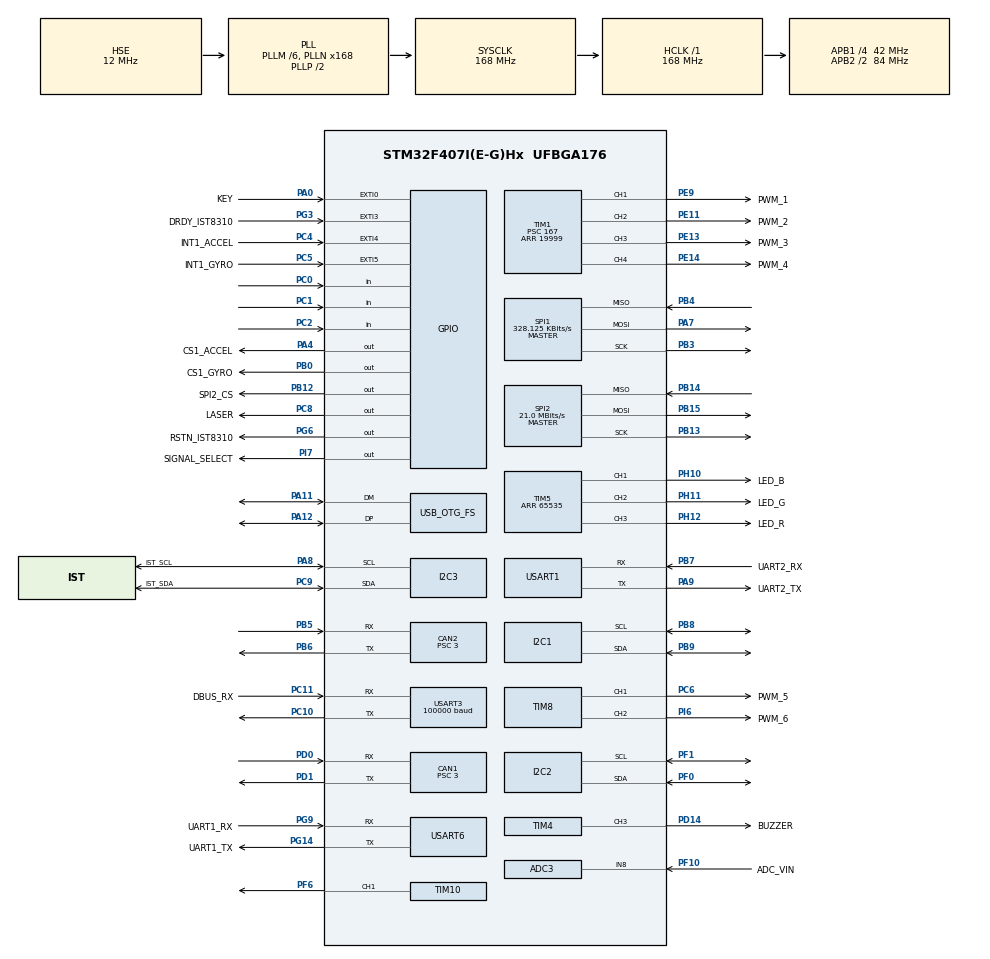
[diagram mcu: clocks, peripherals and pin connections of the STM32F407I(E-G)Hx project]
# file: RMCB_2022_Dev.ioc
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ADC1.Channel-0\#ChannelRegularConversion=ADC_CHANNEL_VREFINT
ADC1.ClockPrescaler=ADC_CLOCK_SYNC_PCLK_DIV4
ADC1.NbrOfConversionFlag=1
ADC1.Rank-0\#ChannelRegularConversion=1
ADC1.SamplingTime-0\#ChannelRegularConversion=ADC_SAMPLETIME_3CYCLES
ADC1.master=1
ADC3.Channel-0\#ChannelRegularConversion=ADC_CHANNEL_8
ADC3.ClockPrescaler=ADC_CLOCK_SYNC_PCLK_DIV4
ADC3.NbrOfConversionFlag=1
ADC3.Rank-0\#ChannelRegularConversion=1
ADC3.SamplingTime-0\#ChannelRegularConversion=ADC_SAMPLETIME_3CYCLES
CAN1.BS1=CAN_BS1_10TQ
CAN1.BS2=CAN_BS2_3TQ
CAN1.CalculateBaudRate=1000000
CAN1.CalculateTimeBit=1000
CAN1.CalculateTimeQuantum=71.42857142857143
CAN1.Prescaler=3
CAN2.BS1=CAN_BS1_10TQ
CAN2.BS2=CAN_BS2_3TQ
CAN2.CalculateBaudRate=1000000
CAN2.CalculateTimeBit=1000
CAN2.CalculateTimeQuantum=71.42857142857143
CAN2.Prescaler=3
Dma.Request0=SPI1_RX
Dma.Request1=SPI1_TX
Dma.Request2=USART3_RX
Dma.Request3=USART1_RX
Dma.Request4=USART1_TX
Dma.Request5=USART6_RX
Dma.Request6=USART6_TX
Dma.SPI1_RX.0.Direction=DMA_PERIPH_TO_MEMORY
Dma.SPI1_RX.0.FIFOMode=DMA_FIFOMODE_DISABLE
Dma.SPI1_RX.0.Instance=DMA2_Stream2
Dma.SPI1_RX.0.MemDataAlignment=DMA_MDATAALIGN_BYTE
Dma.SPI1_RX.0.MemInc=DMA_MINC_ENABLE
Dma.SPI1_RX.0.Mode=DMA_NORMAL
Dma.SPI1_RX.0.PeriphDataAlignment=DMA_PDATAALIGN_BYTE
Dma.SPI1_RX.0.PeriphInc=DMA_PINC_DISABLE
Dma.SPI1_RX.0.Priority=DMA_PRIORITY_VERY_HIGH
Dma.SPI1_TX.1.Direction=DMA_MEMORY_TO_PERIPH
Dma.SPI1_TX.1.FIFOMode=DMA_FIFOMODE_DISABLE
Dma.SPI1_TX.1.Instance=DMA2_Stream3
Dma.SPI1_TX.1.MemDataAlignment=DMA_MDATAALIGN_BYTE
Dma.SPI1_TX.1.MemInc=DMA_MINC_ENABLE
Dma.SPI1_TX.1.Mode=DMA_NORMAL
Dma.SPI1_TX.1.PeriphDataAlignment=DMA_PDATAALIGN_BYTE
Dma.SPI1_TX.1.PeriphInc=DMA_PINC_DISABLE
Dma.SPI1_TX.1.Priority=DMA_PRIORITY_HIGH
Dma.USART1_RX.3.Direction=DMA_PERIPH_TO_MEMORY
Dma.USART1_RX.3.FIFOMode=DMA_FIFOMODE_DISABLE
Dma.USART1_RX.3.Instance=DMA2_Stream5
Dma.USART1_RX.3.MemDataAlignment=DMA_MDATAALIGN_BYTE
Dma.USART1_RX.3.MemInc=DMA_MINC_ENABLE
Dma.USART1_RX.3.Mode=DMA_NORMAL
Dma.USART1_RX.3.PeriphDataAlignment=DMA_PDATAALIGN_BYTE
Dma.USART1_RX.3.PeriphInc=DMA_PINC_DISABLE
Dma.USART1_RX.3.Priority=DMA_PRIORITY_VERY_HIGH
Dma.USART1_TX.4.Direction=DMA_MEMORY_TO_PERIPH
Dma.USART1_TX.4.FIFOMode=DMA_FIFOMODE_DISABLE
Dma.USART1_TX.4.Instance=DMA2_Stream7
Dma.USART1_TX.4.MemDataAlignment=DMA_MDATAALIGN_BYTE
Dma.USART1_TX.4.MemInc=DMA_MINC_ENABLE
Dma.USART1_TX.4.Mode=DMA_NORMAL
Dma.USART1_TX.4.PeriphDataAlignment=DMA_PDATAALIGN_BYTE
Dma.USART1_TX.4.PeriphInc=DMA_PINC_DISABLE
Dma.USART1_TX.4.Priority=DMA_PRIORITY_HIGH
Dma.USART3_RX.2.Direction=DMA_PERIPH_TO_MEMORY
Dma.USART3_RX.2.FIFOMode=DMA_FIFOMODE_DISABLE
Dma.USART3_RX.2.Instance=DMA1_Stream1
Dma.USART3_RX.2.MemDataAlignment=DMA_MDATAALIGN_BYTE
Dma.USART3_RX.2.MemInc=DMA_MINC_ENABLE
Dma.USART3_RX.2.Mode=DMA_NORMAL
Dma.USART3_RX.2.PeriphDataAlignment=DMA_PDATAALIGN_BYTE
Dma.USART3_RX.2.PeriphInc=DMA_PINC_DISABLE
Dma.USART3_RX.2.Priority=DMA_PRIORITY_HIGH
Dma.USART6_RX.5.Direction=DMA_PERIPH_TO_MEMORY
Dma.USART6_RX.5.FIFOMode=DMA_FIFOMODE_DISABLE
Dma.USART6_RX.5.Instance=DMA2_Stream1
Dma.USART6_RX.5.MemDataAlignment=DMA_MDATAALIGN_BYTE
Dma.USART6_RX.5.MemInc=DMA_MINC_ENABLE
Dma.USART6_RX.5.Mode=DMA_NORMAL
Dma.USART6_RX.5.PeriphDataAlignment=DMA_PDATAALIGN_BYTE
Dma.USART6_RX.5.PeriphInc=DMA_PINC_DISABLE
Dma.USART6_RX.5.Priority=DMA_PRIORITY_VERY_HIGH
Dma.USART6_TX.6.Direction=DMA_MEMORY_TO_PERIPH
Dma.USART6_TX.6.FIFOMode=DMA_FIFOMODE_DISABLE
Dma.USART6_TX.6.Instance=DMA2_Stream6
Dma.USART6_TX.6.MemDataAlignment=DMA_MDATAALIGN_BYTE
Dma.USART6_TX.6.MemInc=DMA_MINC_ENABLE
Dma.USART6_TX.6.Mode=DMA_NORMAL
Dma.USART6_TX.6.PeriphDataAlignment=DMA_PDATAALIGN_BYTE
Dma.USART6_TX.6.PeriphInc=DMA_PINC_DISABLE
Dma.USART6_TX.6.Priority=DMA_PRIORITY_HIGH
FREERTOS.Tasks01=defaultTask,24,128,StartDefaultTask,Default,NULL,Dynamic,NULL,NULL
FREERTOS.configENABLE_FPU=1
I2C3.I2C_Mode=I2C_Fast
Mcu.Family=STM32F4
Mcu.Name=STM32F407I(E-G)Hx
Mcu.Package=UFBGA176
NVIC.CAN1_RX0_IRQn=true\:5\:0\:false\:false\:true\:true\:true\:true\:true
NVIC.CAN2_RX0_IRQn=true\:5\:0\:false\:false\:true\:true\:true\:true\:true
NVIC.DMA1_Stream1_IRQn=true\:5\:0\:false\:false\:true\:true\:false\:true\:true
NVIC.DMA2_Stream1_IRQn=true\:5\:0\:false\:false\:true\:true\:false\:true\:true
NVIC.DMA2_Stream2_IRQn=true\:5\:0\:false\:false\:true\:false\:false\:true\:true
NVIC.DMA2_Stream3_IRQn=true\:5\:0\:false\:false\:true\:true\:false\:true\:true
NVIC.DMA2_Stream5_IRQn=true\:5\:0\:false\:false\:true\:true\:false\:true\:true
NVIC.DMA2_Stream6_IRQn=true\:5\:0\:false\:false\:true\:true\:false\:true\:true
NVIC.DMA2_Stream7_IRQn=true\:5\:0\:false\:false\:true\:true\:false\:true\:true
NVIC.EXTI0_IRQn=true\:5\:0\:false\:false\:true\:true\:true\:true\:true
NVIC.EXTI3_IRQn=true\:5\:0\:false\:false\:true\:true\:true\:true\:true
NVIC.EXTI4_IRQn=true\:5\:0\:true\:false\:true\:true\:true\:true\:true
NVIC.EXTI9_5_IRQn=true\:5\:0\:true\:false\:true\:true\:true\:true\:true
NVIC.OTG_FS_IRQn=true\:5\:0\:false\:false\:true\:true\:true\:true\:true
NVIC.PriorityGroup=NVIC_PRIORITYGROUP_4
NVIC.TIM8_TRG_COM_TIM14_IRQn=true\:0\:0\:false\:false\:true\:false\:false\:true\:true
NVIC.TimeBase=TIM8_TRG_COM_TIM14_IRQn
NVIC.TimeBaseIP=TIM14
NVIC.USART1_IRQn=true\:5\:0\:false\:false\:true\:true\:true\:true\:true
NVIC.USART3_IRQn=true\:5\:0\:false\:false\:true\:true\:true\:true\:true
NVIC.USART6_IRQn=true\:5\:0\:false\:false\:true\:true\:true\:true\:true
PA0-WKUP.GPIO_Label=KEY
PA0-WKUP.GPIO_ModeDefaultEXTI=GPIO_MODE_IT_FALLING
PA0-WKUP.Signal=GPXTI0
PA11.Mode=Device_Only
PA11.Signal=USB_OTG_FS_DM
PA12.Mode=Device_Only
PA12.Signal=USB_OTG_FS_DP
PA13.Mode=Serial_Wire
PA13.Signal=SYS_JTMS-SWDIO
PA14.Mode=Serial_Wire
PA14.Signal=SYS_JTCK-SWCLK
PA4.GPIO_Label=CS1_ACCEL
PA4.Signal=GPIO_Output
PA7.GPIO_PuPd=GPIO_PULLUP
PA7.Mode=Full_Duplex_Master
PA7.Signal=SPI1_MOSI
PA8.GPIO_Label=IST_SCL
PA8.GPIO_Pu=GPIO_PULLUP
PA8.Mode=I2C
PA8.Signal=I2C3_SCL
PA9.GPIO_Label=UART2_TX
PA9.Mode=Asynchronous
PA9.Signal=USART1_TX
PB0.GPIO_Label=CS1_GYRO
PB0.Signal=GPIO_Output
PB12.GPIO_Label=SPI2_CS
PB12.GPIO_Speed=GPIO_SPEED_FREQ_VERY_HIGH
PB12.Signal=GPIO_Output
PB13.GPIO_PuPd=GPIO_PULLUP
PB13.Mode=Full_Duplex_Master
PB13.Signal=SPI2_SCK
PB14.GPIO_PuPd=GPIO_PULLUP
PB14.Mode=Full_Duplex_Master
PB14.Signal=SPI2_MISO
PB15.GPIO_PuPd=GPIO_PULLUP
PB15.Mode=Full_Duplex_Master
PB15.Signal=SPI2_MOSI
PB3.GPIO_PuPd=GPIO_PULLUP
PB3.Mode=Full_Duplex_Master
PB3.Signal=SPI1_SCK
PB4.GPIO_PuPd=GPIO_PULLUP
PB4.Mode=Full_Duplex_Master
PB4.Signal=SPI1_MISO
PB5.Mode=CAN_Activate
PB5.Signal=CAN2_RX
PB6.Mode=CAN_Activate
PB6.Signal=CAN2_TX
PB7.GPIO_Label=UART2_RX
PB7.Mode=Asynchronous
PB7.Signal=USART1_RX
PB8.GPIO_Pu=GPIO_PULLUP
PB8.Mode=I2C
PB8.Signal=I2C1_SCL
PB9.GPIO_Pu=GPIO_PULLUP
PB9.Mode=I2C
PB9.Signal=I2C1_SDA
PC0.Signal=GPIO_Input
PC1.Signal=GPIO_Input
PC10.Mode=Asynchronous
PC10.Signal=USART3_TX
PC11.GPIO_Label=DBUS_RX
PC11.Mode=Asynchronous
PC11.Signal=USART3_RX
PC2.Signal=GPIO_Input
PC4.GPIO_Label=INT1_ACCEL
PC4.Signal=GPXTI4
PC5.GPIO_Label=INT1_GYRO
PC5.Signal=GPXTI5
PC6.GPIO_Label=PWM_5
PC6.Signal=S_TIM8_CH1
PC8.GPIO_Label=LASER
PC8.Signal=GPIO_Output
PC9.GPIO_Label=IST_SDA
PC9.GPIO_Pu=GPIO_PULLUP
PC9.Mode=I2C
PC9.Signal=I2C3_SDA
PD0.Mode=CAN_Activate
PD0.Signal=CAN1_RX
PD1.Mode=CAN_Activate
PD1.Signal=CAN1_TX
PD14.GPIO_Label=BUZZER
PD14.Signal=S_TIM4_CH3
PE11.GPIO_Label=PWM_2
PE11.Signal=S_TIM1_CH2
PE13.GPIO_Label=PWM_3
PE13.Signal=S_TIM1_CH3
PE14.GPIO_Label=PWM_4
PE14.Signal=S_TIM1_CH4
PE9.GPIO_Label=PWM_1
PE9.Signal=S_TIM1_CH1
PF0.GPIO_Pu=GPIO_PULLUP
PF0.Mode=I2C
PF0.Signal=I2C2_SDA
PF1.GPIO_Pu=GPIO_PULLUP
PF1.Mode=I2C
PF1.Signal=I2C2_SCL
PF10.GPIO_Label=ADC_VIN
PF10.Mode=IN8
PF10.Signal=ADC3_IN8
PF6.Signal=S_TIM10_CH1
PG14.GPIO_Label=UART1_TX
PG14.Mode=Asynchronous
PG14.Signal=USART6_TX
PG3.GPIO_Label=DRDY_IST8310
PG3.Signal=GPXTI3
PG6.GPIO_Label=RSTN_IST8310
PG6.GPIO_Speed=GPIO_SPEED_FREQ_VERY_HIGH
PG6.Signal=GPIO_Output
PG9.GPIO_Label=UART1_RX
PG9.Mode=Asynchronous
PG9.Signal=USART6_RX
PH0-OSC_IN.Mode=HSE-External-Oscillator
PH0-OSC_IN.Signal=RCC_OSC_IN
PH1-OSC_OUT.Mode=HSE-External-Oscillator
PH1-OSC_OUT.Signal=RCC_OSC_OUT
PH10.GPIO_Label=LED_B
PH10.Signal=S_TIM5_CH1
PH11.GPIO_Label=LED_G
PH11.Signal=S_TIM5_CH2
PH12.GPIO_Label=LED_R
PH12.Signal=S_TIM5_CH3
PI6.GPIO_Label=PWM_6
PI6.Signal=S_TIM8_CH2
PI7.GPIO_Label=SIGNAL_SELECT
PI7.Signal=GPIO_Output
ProjectManager.HeapSize=0x1000
ProjectManager.StackSize=0x400
ProjectManager.TargetToolchain=MDK-ARM V5.27
RCC.48MHZClocksFreq_Value=48000000
RCC.AHBFreq_Value=168000000
RCC.APB1CLKDivider=RCC_HCLK_DIV4
RCC.APB1Freq_Value=42000000
RCC.APB1TimFreq_Value=84000000
RCC.APB2CLKDivider=RCC_HCLK_DIV2
RCC.APB2Freq_Value=84000000
RCC.APB2TimFreq_Value=168000000
RCC.CortexFreq_Value=168000000
RCC.HCLKFreq_Value=168000000
RCC.HSE_VALUE=12000000
RCC.HSI_VALUE=16000000
RCC.LSE_VALUE=32768
RCC.PLLM=6
RCC.PLLN=168
RCC.PLLQ=7
RCC.SYSCLKFreq_VALUE=168000000
RCC.SYSCLKSource=RCC_SYSCLKSOURCE_PLLCLK
RCC.VCOOutputFreq_Value=336000000
SH.S_TIM10_CH1.0=TIM10_CH1,PWM Generation1 CH1
SH.S_TIM1_CH1.0=TIM1_CH1,PWM Generation1 CH1
SH.S_TIM1_CH2.0=TIM1_CH2,PWM Generation2 CH2
SH.S_TIM1_CH3.0=TIM1_CH3,PWM Generation3 CH3
SH.S_TIM1_CH4.0=TIM1_CH4,PWM Generation4 CH4
SH.S_TIM4_CH3.0=TIM4_CH3,PWM Generation3 CH3
SH.S_TIM5_CH1.0=TIM5_CH1,PWM Generation1 CH1
SH.S_TIM5_CH2.0=TIM5_CH2,PWM Generation2 CH2
SH.S_TIM5_CH3.0=TIM5_CH3,PWM Generation3 CH3
SH.S_TIM8_CH1.0=TIM8_CH1,PWM Generation1 CH1
SH.S_TIM8_CH2.0=TIM8_CH2,PWM Generation2 CH2
SPI1.BaudRatePrescaler=SPI_BAUDRATEPRESCALER_256
SPI1.CLKPhase=SPI_PHASE_2EDGE
SPI1.CLKPolarity=SPI_POLARITY_HIGH
SPI1.CalculateBaudRate=328.125 KBits/s
SPI1.Direction=SPI_DIRECTION_2LINES
SPI1.Mode=SPI_MODE_MASTER
SPI1.VirtualType=VM_MASTER
SPI2.BaudRatePrescaler=SPI_BAUDRATEPRESCALER_2
SPI2.CalculateBaudRate=21.0 MBits/s
SPI2.Direction=SPI_DIRECTION_2LINES
SPI2.Mode=SPI_MODE_MASTER
SPI2.VirtualType=VM_MASTER
TIM1.Channel-PWM\ Generation1\ CH1=TIM_CHANNEL_1
TIM1.Channel-PWM\ Generation2\ CH2=TIM_CHANNEL_2
TIM1.Channel-PWM\ Generation3\ CH3=TIM_CHANNEL_3
TIM1.Channel-PWM\ Generation4\ CH4=TIM_CHANNEL_4
TIM1.Period=19999
TIM1.Prescaler=167
TIM10.Channel=TIM_CHANNEL_1
TIM4.Channel-PWM\ Generation3\ CH3=TIM_CHANNEL_3
TIM5.Channel-PWM\ Generation1\ CH1=TIM_CHANNEL_1
TIM5.Channel-PWM\ Generation2\ CH2=TIM_CHANNEL_2
TIM5.Channel-PWM\ Generation3\ CH3=TIM_CHANNEL_3
TIM5.Period=65535
TIM5.Pulse-PWM\ Generation2\ CH2=0
TIM5.Pulse-PWM\ Generation3\ CH3=60000
TIM8.Channel-PWM\ Generation1\ CH1=TIM_CHANNEL_1
TIM8.Channel-PWM\ Generation2\ CH2=TIM_CHANNEL_2
USART1.Parity=PARITY_EVEN
USART1.VirtualMode=VM_ASYNC
USART1.WordLength=WORDLENGTH_9B
USART3.BaudRate=100000
USART3.Parity=PARITY_EVEN
USART3.VirtualMode=VM_ASYNC
USART3.WordLength=WORDLENGTH_9B
USART6.Parity=PARITY_NONE
USART6.VirtualMode=VM_ASYNC
USART6.WordLength=WORDLENGTH_8B
USB_DEVICE.CLASS_NAME_FS=CDC
USB_DEVICE.VirtualMode-CDC_FS=Cdc
USB_DEVICE.VirtualModeFS=Cdc_FS
USB_OTG_FS.VirtualMode=Device_Only
VP_ADC1_TempSens_Input.Mode=IN-TempSens
VP_ADC1_Vref_Input.Mode=IN-Vrefint
VP_FREERTOS_VS_CMSIS_V2.Mode=CMSIS_V2
VP_SYS_VS_tim14.Mode=TIM14
VP_TIM10_VS_ClockSourceINT.Mode=Enable_Timer
VP_USB_DEVICE_VS_USB_DEVICE_CDC_FS.Mode=CDC_FS
board=custom

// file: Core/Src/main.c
/* USER CODE BEGIN Header */
/**
  ******************************************************************************
  * @file           : main.c
  * @brief          : Main program body
  ******************************************************************************
  * @attention
  *
  * <h2><center>&copy; Copyright (c) 2021 STMicroelectronics.
  * All rights reserved.</center></h2>
  *
  * This software component is licensed by ST under Ultimate Liberty license
  * SLA0044, the "License"; You may not use this file except in compliance with
  * the License. You may obtain a copy of the License at:
  *                             www.st.com/SLA0044
  *
  ******************************************************************************
  */
/* USER CODE END Header */
#include "main.h"
#include "cmsis_os.h"
#include "usb_device.h"
#include "usb_device.h"

/* USER CODE BEGIN Includes */
#include "components.h"
#include "stm32f4xx_hal_tim.h"
#include "user_main.h"
/* USER CODE END Includes */

/* USER CODE BEGIN PD */
extern uint8_t LED_Override;
extern TIM_HandleTypeDef htim5;
#define LED_HAL_TIM htim5
#define LED_LL_TIM TIM5
/* USER CODE END PD */

ADC_HandleTypeDef hadc1;
ADC_HandleTypeDef hadc3;

CAN_HandleTypeDef hcan1;
CAN_HandleTypeDef hcan2;

I2C_HandleTypeDef hi2c1;
I2C_HandleTypeDef hi2c2;
I2C_HandleTypeDef hi2c3;

SPI_HandleTypeDef hspi1;
SPI_HandleTypeDef hspi2;
DMA_HandleTypeDef hdma_spi1_rx;
DMA_HandleTypeDef hdma_spi1_tx;

TIM_HandleTypeDef htim1;
TIM_HandleTypeDef htim4;
TIM_HandleTypeDef htim5;
TIM_HandleTypeDef htim8;
TIM_HandleTypeDef htim10;

UART_HandleTypeDef huart1;
UART_HandleTypeDef huart3;
UART_HandleTypeDef huart6;
DMA_HandleTypeDef hdma_usart1_rx;
DMA_HandleTypeDef hdma_usart1_tx;
DMA_HandleTypeDef hdma_usart3_rx;
DMA_HandleTypeDef hdma_usart6_rx;
DMA_HandleTypeDef hdma_usart6_tx;

/* Definitions for defaultTask */
osThreadId_t defaultTaskHandle;
const osThreadAttr_t defaultTask_attributes = {
  .name = "defaultTask",
  .stack_size = 128 * 4,
  .priority = (osPriority_t) osPriorityNormal,
};

void SystemClock_Config(void);
static void MX_GPIO_Init(void);
static void MX_DMA_Init(void);
static void MX_ADC1_Init(void);
static void MX_ADC3_Init(void);
static void MX_CAN1_Init(void);
static void MX_CAN2_Init(void);
static void MX_I2C3_Init(void);
static void MX_SPI1_Init(void);
static void MX_TIM5_Init(void);
static void MX_USART1_UART_Init(void);
static void MX_USART3_UART_Init(void);
static void MX_USART6_UART_Init(void);
static void MX_TIM10_Init(void);
static void MX_I2C1_Init(void);
static void MX_I2C2_Init(void);
static void MX_SPI2_Init(void);
static void MX_TIM1_Init(void);
static void MX_TIM4_Init(void);
static void MX_TIM8_Init(void);
void StartDefaultTask(void *argument);

int main(void)
{

  /* MCU Configuration--------------------------------------------------------*/

  /* Reset of all peripherals, Initializes the Flash interface and the Systick. */
	HAL_Init();

  /* Configure the system clock */
  SystemClock_Config();

  /* Initialize all configured peripherals */
  MX_GPIO_Init();
  MX_DMA_Init();
  MX_ADC1_Init();
  MX_ADC3_Init();
  MX_CAN1_Init();
  MX_CAN2_Init();
  MX_I2C3_Init();
  MX_SPI1_Init();
  MX_TIM5_Init();
  MX_USART1_UART_Init();
  MX_USART3_UART_Init();
  MX_USART6_UART_Init();
  MX_TIM10_Init();
  MX_I2C1_Init();
  MX_I2C2_Init();
  MX_SPI2_Init();
  MX_TIM1_Init();
  MX_TIM4_Init();
  MX_TIM8_Init();
  /* USER CODE BEGIN 2 */
	Components_Init();
  /* USER CODE END 2 */

  /* Init scheduler */
  osKernelInitialize();

  /* Create the thread(s) */
  /* creation of defaultTask */
  defaultTaskHandle = osThreadNew(StartDefaultTask, NULL, &defaultTask_attributes);

  /* USER CODE BEGIN RTOS_THREADS */
  /* add threads, ... */
	User_Init();
  /* USER CODE END RTOS_THREADS */

  /* Start scheduler */
  osKernelStart();

  /* We should never get here as control is now taken by the scheduler */
  /* Infinite loop */
  while (1)
  {

  }
}

void SystemClock_Config(void)
{
  RCC_OscInitTypeDef RCC_OscInitStruct = {0};
  RCC_ClkInitTypeDef RCC_ClkInitStruct = {0};

  /** Configure the main internal regulator output voltage
  */
  __HAL_RCC_PWR_CLK_ENABLE();
  __HAL_PWR_VOLTAGESCALING_CONFIG(PWR_REGULATOR_VOLTAGE_SCALE1);
  /** Initializes the RCC Oscillators according to the specified parameters
  * in the RCC_OscInitTypeDef structure.
  */
  RCC_OscInitStruct.OscillatorType = RCC_OSCILLATORTYPE_HSE;
  RCC_OscInitStruct.HSEState = RCC_HSE_ON;
  RCC_OscInitStruct.PLL.PLLState = RCC_PLL_ON;
  RCC_OscInitStruct.PLL.PLLSource = RCC_PLLSOURCE_HSE;
  RCC_OscInitStruct.PLL.PLLM = 6;
  RCC_OscInitStruct.PLL.PLLN = 168;
  RCC_OscInitStruct.PLL.PLLP = RCC_PLLP_DIV2;
  RCC_OscInitStruct.PLL.PLLQ = 7;
  if (HAL_RCC_OscConfig(&RCC_OscInitStruct) != HAL_OK)
  {
    Error_Handler();
  }
  /** Initializes the CPU, AHB and APB buses clocks
  */
  RCC_ClkInitStruct.ClockType = RCC_CLOCKTYPE_HCLK|RCC_CLOCKTYPE_SYSCLK
                              |RCC_CLOCKTYPE_PCLK1|RCC_CLOCKTYPE_PCLK2;
  RCC_ClkInitStruct.SYSCLKSource = RCC_SYSCLKSOURCE_PLLCLK;
  RCC_ClkInitStruct.AHBCLKDivider = RCC_SYSCLK_DIV1;
  RCC_ClkInitStruct.APB1CLKDivider = RCC_HCLK_DIV4;
  RCC_ClkInitStruct.APB2CLKDivider = RCC_HCLK_DIV2;

  if (HAL_RCC_ClockConfig(&RCC_ClkInitStruct, FLASH_LATENCY_5) != HAL_OK)
  {
    Error_Handler();
  }
}

static void MX_ADC1_Init(void)
{

  ADC_ChannelConfTypeDef sConfig = {0};

  /** Configure the global features of the ADC (Clock, Resolution, Data Alignment and number of conversion)
  */
  hadc1.Instance = ADC1;
  hadc1.Init.ClockPrescaler = ADC_CLOCK_SYNC_PCLK_DIV4;
  hadc1.Init.Resolution = ADC_RESOLUTION_12B;
  hadc1.Init.ScanConvMode = DISABLE;
  hadc1.Init.ContinuousConvMode = DISABLE;
  hadc1.Init.DiscontinuousConvMode = DISABLE;
  hadc1.Init.ExternalTrigConvEdge = ADC_EXTERNALTRIGCONVEDGE_NONE;
  hadc1.Init.ExternalTrigConv = ADC_SOFTWARE_START;
  hadc1.Init.DataAlign = ADC_DATAALIGN_RIGHT;
  hadc1.Init.NbrOfConversion = 1;
  hadc1.Init.DMAContinuousRequests = DISABLE;
  hadc1.Init.EOCSelection = ADC_EOC_SINGLE_CONV;
  if (HAL_ADC_Init(&hadc1) != HAL_OK)
  {
    Error_Handler();
  }
  /** Configure for the selected ADC regular channel its corresponding rank in the sequencer and its sample time.
  */
  sConfig.Channel = ADC_CHANNEL_VREFINT;
  sConfig.Rank = 1;
  sConfig.SamplingTime = ADC_SAMPLETIME_3CYCLES;
  if (HAL_ADC_ConfigChannel(&hadc1, &sConfig) != HAL_OK)
  {
    Error_Handler();
  }

}

static void MX_ADC3_Init(void)
{

  ADC_ChannelConfTypeDef sConfig = {0};

  /** Configure the global features of the ADC (Clock, Resolution, Data Alignment and number of conversion)
  */
  hadc3.Instance = ADC3;
  hadc3.Init.ClockPrescaler = ADC_CLOCK_SYNC_PCLK_DIV4;
  hadc3.Init.Resolution = ADC_RESOLUTION_12B;
  hadc3.Init.ScanConvMode = DISABLE;
  hadc3.Init.ContinuousConvMode = DISABLE;
  hadc3.Init.DiscontinuousConvMode = DISABLE;
  hadc3.Init.ExternalTrigConvEdge = ADC_EXTERNALTRIGCONVEDGE_NONE;
  hadc3.Init.ExternalTrigConv = ADC_SOFTWARE_START;
  hadc3.Init.DataAlign = ADC_DATAALIGN_RIGHT;
  hadc3.Init.NbrOfConversion = 1;
  hadc3.Init.DMAContinuousRequests = DISABLE;
  hadc3.Init.EOCSelection = ADC_EOC_SINGLE_CONV;
  if (HAL_ADC_Init(&hadc3) != HAL_OK)
  {
    Error_Handler();
  }
  /** Configure for the selected ADC regular channel its corresponding rank in the sequencer and its sample time.
  */
  sConfig.Channel = ADC_CHANNEL_8;
  sConfig.Rank = 1;
  sConfig.SamplingTime = ADC_SAMPLETIME_3CYCLES;
  if (HAL_ADC_ConfigChannel(&hadc3, &sConfig) != HAL_OK)
  {
    Error_Handler();
  }

}

static void MX_CAN1_Init(void)
{

  hcan1.Instance = CAN1;
  hcan1.Init.Prescaler = 3;
  hcan1.Init.Mode = CAN_MODE_NORMAL;
  hcan1.Init.SyncJumpWidth = CAN_SJW_1TQ;
  hcan1.Init.TimeSeg1 = CAN_BS1_10TQ;
  hcan1.Init.TimeSeg2 = CAN_BS2_3TQ;
  hcan1.Init.TimeTriggeredMode = DISABLE;
  hcan1.Init.AutoBusOff = DISABLE;
  hcan1.Init.AutoWakeUp = DISABLE;
  hcan1.Init.AutoRetransmission = DISABLE;
  hcan1.Init.ReceiveFifoLocked = DISABLE;
  hcan1.Init.TransmitFifoPriority = DISABLE;
  if (HAL_CAN_Init(&hcan1) != HAL_OK)
  {
    Error_Handler();
  }

}

static void MX_CAN2_Init(void)
{

  hcan2.Instance = CAN2;
  hcan2.Init.Prescaler = 3;
  hcan2.Init.Mode = CAN_MODE_NORMAL;
  hcan2.Init.SyncJumpWidth = CAN_SJW_1TQ;
  hcan2.Init.TimeSeg1 = CAN_BS1_10TQ;
  hcan2.Init.TimeSeg2 = CAN_BS2_3TQ;
  hcan2.Init.TimeTriggeredMode = DISABLE;
  hcan2.Init.AutoBusOff = DISABLE;
  hcan2.Init.AutoWakeUp = DISABLE;
  hcan2.Init.AutoRetransmission = DISABLE;
  hcan2.Init.ReceiveFifoLocked = DISABLE;
  hcan2.Init.TransmitFifoPriority = DISABLE;
  if (HAL_CAN_Init(&hcan2) != HAL_OK)
  {
    Error_Handler();
  }

}

static void MX_I2C1_Init(void)
{

  hi2c1.Instance = I2C1;
  hi2c1.Init.ClockSpeed = 100000;
  hi2c1.Init.DutyCycle = I2C_DUTYCYCLE_2;
  hi2c1.Init.OwnAddress1 = 0;
  hi2c1.Init.AddressingMode = I2C_ADDRESSINGMODE_7BIT;
  hi2c1.Init.DualAddressMode = I2C_DUALADDRESS_DISABLE;
  hi2c1.Init.OwnAddress2 = 0;
  hi2c1.Init.GeneralCallMode = I2C_GENERALCALL_DISABLE;
  hi2c1.Init.NoStretchMode = I2C_NOSTRETCH_DISABLE;
  if (HAL_I2C_Init(&hi2c1) != HAL_OK)
  {
    Error_Handler();
  }

}

static void MX_I2C2_Init(void)
{

  hi2c2.Instance = I2C2;
  hi2c2.Init.ClockSpeed = 100000;
  hi2c2.Init.DutyCycle = I2C_DUTYCYCLE_2;
  hi2c2.Init.OwnAddress1 = 0;
  hi2c2.Init.AddressingMode = I2C_ADDRESSINGMODE_7BIT;
  hi2c2.Init.DualAddressMode = I2C_DUALADDRESS_DISABLE;
  hi2c2.Init.OwnAddress2 = 0;
  hi2c2.Init.GeneralCallMode = I2C_GENERALCALL_DISABLE;
  hi2c2.Init.NoStretchMode = I2C_NOSTRETCH_DISABLE;
  if (HAL_I2C_Init(&hi2c2) != HAL_OK)
  {
    Error_Handler();
  }

}

static void MX_I2C3_Init(void)
{

  hi2c3.Instance = I2C3;
  hi2c3.Init.ClockSpeed = 400000;
  hi2c3.Init.DutyCycle = I2C_DUTYCYCLE_2;
  hi2c3.Init.OwnAddress1 = 0;
  hi2c3.Init.AddressingMode = I2C_ADDRESSINGMODE_7BIT;
  hi2c3.Init.DualAddressMode = I2C_DUALADDRESS_DISABLE;
  hi2c3.Init.OwnAddress2 = 0;
  hi2c3.Init.GeneralCallMode = I2C_GENERALCALL_DISABLE;
  hi2c3.Init.NoStretchMode = I2C_NOSTRETCH_DISABLE;
  if (HAL_I2C_Init(&hi2c3) != HAL_OK)
  {
    Error_Handler();
  }

}

static void MX_SPI1_Init(void)
{

  /* SPI1 parameter configuration*/
  hspi1.Instance = SPI1;
  hspi1.Init.Mode = SPI_MODE_MASTER;
  hspi1.Init.Direction = SPI_DIRECTION_2LINES;
  hspi1.Init.DataSize = SPI_DATASIZE_8BIT;
  hspi1.Init.CLKPolarity = SPI_POLARITY_HIGH;
  hspi1.Init.CLKPhase = SPI_PHASE_2EDGE;
  hspi1.Init.NSS = SPI_NSS_SOFT;
  hspi1.Init.BaudRatePrescaler = SPI_BAUDRATEPRESCALER_256;
  hspi1.Init.FirstBit = SPI_FIRSTBIT_MSB;
  hspi1.Init.TIMode = SPI_TIMODE_DISABLE;
  hspi1.Init.CRCCalculation = SPI_CRCCALCULATION_DISABLE;
  hspi1.Init.CRCPolynomial = 10;
  if (HAL_SPI_Init(&hspi1) != HAL_OK)
  {
    Error_Handler();
  }

}

static void MX_SPI2_Init(void)
{

  /* SPI2 parameter configuration*/
  hspi2.Instance = SPI2;
  hspi2.Init.Mode = SPI_MODE_MASTER;
  hspi2.Init.Direction = SPI_DIRECTION_2LINES;
  hspi2.Init.DataSize = SPI_DATASIZE_8BIT;
  hspi2.Init.CLKPolarity = SPI_POLARITY_LOW;
  hspi2.Init.CLKPhase = SPI_PHASE_1EDGE;
  hspi2.Init.NSS = SPI_NSS_SOFT;
  hspi2.Init.BaudRatePrescaler = SPI_BAUDRATEPRESCALER_2;
  hspi2.Init.FirstBit = SPI_FIRSTBIT_MSB;
  hspi2.Init.TIMode = SPI_TIMODE_DISABLE;
  hspi2.Init.CRCCalculation = SPI_CRCCALCULATION_DISABLE;
  hspi2.Init.CRCPolynomial = 10;
  if (HAL_SPI_Init(&hspi2) != HAL_OK)
  {
    Error_Handler();
  }

}

static void MX_TIM1_Init(void)
{

  TIM_MasterConfigTypeDef sMasterConfig = {0};
  TIM_OC_InitTypeDef sConfigOC = {0};
  TIM_BreakDeadTimeConfigTypeDef sBreakDeadTimeConfig = {0};

  htim1.Instance = TIM1;
  htim1.Init.Prescaler = 167;
  htim1.Init.CounterMode = TIM_COUNTERMODE_UP;
  htim1.Init.Period = 19999;
  htim1.Init.ClockDivision = TIM_CLOCKDIVISION_DIV1;
  htim1.Init.RepetitionCounter = 0;
  htim1.Init.AutoReloadPreload = TIM_AUTORELOAD_PRELOAD_DISABLE;
  if (HAL_TIM_PWM_Init(&htim1) != HAL_OK)
  {
    Error_Handler();
  }
  sMasterConfig.MasterOutputTrigger = TIM_TRGO_RESET;
  sMasterConfig.MasterSlaveMode = TIM_MASTERSLAVEMODE_DISABLE;
  if (HAL_TIMEx_MasterConfigSynchronization(&htim1, &sMasterConfig) != HAL_OK)
  {
    Error_Handler();
  }
  sConfigOC.OCMode = TIM_OCMODE_PWM1;
  sConfigOC.Pulse = 0;
  sConfigOC.OCPolarity = TIM_OCPOLARITY_HIGH;
  sConfigOC.OCNPolarity = TIM_OCNPOLARITY_HIGH;
  sConfigOC.OCFastMode = TIM_OCFAST_DISABLE;
  sConfigOC.OCIdleState = TIM_OCIDLESTATE_RESET;
  sConfigOC.OCNIdleState = TIM_OCNIDLESTATE_RESET;
  if (HAL_TIM_PWM_ConfigChannel(&htim1, &sConfigOC, TIM_CHANNEL_1) != HAL_OK)
  {
    Error_Handler();
  }
  if (HAL_TIM_PWM_ConfigChannel(&htim1, &sConfigOC, TIM_CHANNEL_2) != HAL_OK)
  {
    Error_Handler();
  }
  if (HAL_TIM_PWM_ConfigChannel(&htim1, &sConfigOC, TIM_CHANNEL_3) != HAL_OK)
  {
    Error_Handler();
  }
  if (HAL_TIM_PWM_ConfigChannel(&htim1, &sConfigOC, TIM_CHANNEL_4) != HAL_OK)
  {
    Error_Handler();
  }
  sBreakDeadTimeConfig.OffStateRunMode = TIM_OSSR_DISABLE;
  sBreakDeadTimeConfig.OffStateIDLEMode = TIM_OSSI_DISABLE;
  sBreakDeadTimeConfig.LockLevel = TIM_LOCKLEVEL_OFF;
  sBreakDeadTimeConfig.DeadTime = 0;
  sBreakDeadTimeConfig.BreakState = TIM_BREAK_DISABLE;
  sBreakDeadTimeConfig.BreakPolarity = TIM_BREAKPOLARITY_HIGH;
  sBreakDeadTimeConfig.AutomaticOutput = TIM_AUTOMATICOUTPUT_DISABLE;
  if (HAL_TIMEx_ConfigBreakDeadTime(&htim1, &sBreakDeadTimeConfig) != HAL_OK)
  {
    Error_Handler();
  }
  HAL_TIM_MspPostInit(&htim1);

}

static void MX_TIM4_Init(void)
{

  TIM_MasterConfigTypeDef sMasterConfig = {0};
  TIM_OC_InitTypeDef sConfigOC = {0};

  htim4.Instance = TIM4;
  htim4.Init.Prescaler = 0;
  htim4.Init.CounterMode = TIM_COUNTERMODE_UP;
  htim4.Init.Period = 65535;
  htim4.Init.ClockDivision = TIM_CLOCKDIVISION_DIV1;
  htim4.Init.AutoReloadPreload = TIM_AUTORELOAD_PRELOAD_DISABLE;
  if (HAL_TIM_PWM_Init(&htim4) != HAL_OK)
  {
    Error_Handler();
  }
  sMasterConfig.MasterOutputTrigger = TIM_TRGO_RESET;
  sMasterConfig.MasterSlaveMode = TIM_MASTERSLAVEMODE_DISABLE;
  if (HAL_TIMEx_MasterConfigSynchronization(&htim4, &sMasterConfig) != HAL_OK)
  {
    Error_Handler();
  }
  sConfigOC.OCMode = TIM_OCMODE_PWM1;
  sConfigOC.Pulse = 0;
  sConfigOC.OCPolarity = TIM_OCPOLARITY_HIGH;
  sConfigOC.OCFastMode = TIM_OCFAST_DISABLE;
  if (HAL_TIM_PWM_ConfigChannel(&htim4, &sConfigOC, TIM_CHANNEL_3) != HAL_OK)
  {
    Error_Handler();
  }
  HAL_TIM_MspPostInit(&htim4);

}

static void MX_TIM5_Init(void)
{

  TIM_MasterConfigTypeDef sMasterConfig = {0};
  TIM_OC_InitTypeDef sConfigOC = {0};

  htim5.Instance = TIM5;
  htim5.Init.Prescaler = 0;
  htim5.Init.CounterMode = TIM_COUNTERMODE_UP;
  htim5.Init.Period = 65535;
  htim5.Init.ClockDivision = TIM_CLOCKDIVISION_DIV1;
  htim5.Init.AutoReloadPreload = TIM_AUTORELOAD_PRELOAD_DISABLE;
  if (HAL_TIM_PWM_Init(&htim5) != HAL_OK)
  {
    Error_Handler();
  }
  sMasterConfig.MasterOutputTrigger = TIM_TRGO_RESET;
  sMasterConfig.MasterSlaveMode = TIM_MASTERSLAVEMODE_DISABLE;
  if (HAL_TIMEx_MasterConfigSynchronization(&htim5, &sMasterConfig) != HAL_OK)
  {
    Error_Handler();
  }
  sConfigOC.OCMode = TIM_OCMODE_PWM1;
  sConfigOC.Pulse = 0;
  sConfigOC.OCPolarity = TIM_OCPOLARITY_HIGH;
  sConfigOC.OCFastMode = TIM_OCFAST_DISABLE;
  if (HAL_TIM_PWM_ConfigChannel(&htim5, &sConfigOC, TIM_CHANNEL_1) != HAL_OK)
  {
    Error_Handler();
  }
  if (HAL_TIM_PWM_ConfigChannel(&htim5, &sConfigOC, TIM_CHANNEL_2) != HAL_OK)
  {
    Error_Handler();
  }
  sConfigOC.Pulse = 60000;
  if (HAL_TIM_PWM_ConfigChannel(&htim5, &sConfigOC, TIM_CHANNEL_3) != HAL_OK)
  {
    Error_Handler();
  }
  HAL_TIM_MspPostInit(&htim5);

}

static void MX_TIM8_Init(void)
{

  TIM_MasterConfigTypeDef sMasterConfig = {0};
  TIM_OC_InitTypeDef sConfigOC = {0};
  TIM_BreakDeadTimeConfigTypeDef sBreakDeadTimeConfig = {0};

  htim8.Instance = TIM8;
  htim8.Init.Prescaler = 0;
  htim8.Init.CounterMode = TIM_COUNTERMODE_UP;
  htim8.Init.Period = 65535;
  htim8.Init.ClockDivision = TIM_CLOCKDIVISION_DIV1;
  htim8.Init.RepetitionCounter = 0;
  htim8.Init.AutoReloadPreload = TIM_AUTORELOAD_PRELOAD_DISABLE;
  if (HAL_TIM_PWM_Init(&htim8) != HAL_OK)
  {
    Error_Handler();
  }
  sMasterConfig.MasterOutputTrigger = TIM_TRGO_RESET;
  sMasterConfig.MasterSlaveMode = TIM_MASTERSLAVEMODE_DISABLE;
  if (HAL_TIMEx_MasterConfigSynchronization(&htim8, &sMasterConfig) != HAL_OK)
  {
    Error_Handler();
  }
  sConfigOC.OCMode = TIM_OCMODE_PWM1;
  sConfigOC.Pulse = 0;
  sConfigOC.OCPolarity = TIM_OCPOLARITY_HIGH;
  sConfigOC.OCNPolarity = TIM_OCNPOLARITY_HIGH;
  sConfigOC.OCFastMode = TIM_OCFAST_DISABLE;
  sConfigOC.OCIdleState = TIM_OCIDLESTATE_RESET;
  sConfigOC.OCNIdleState = TIM_OCNIDLESTATE_RESET;
  if (HAL_TIM_PWM_ConfigChannel(&htim8, &sConfigOC, TIM_CHANNEL_1) != HAL_OK)
  {
    Error_Handler();
  }
  if (HAL_TIM_PWM_ConfigChannel(&htim8, &sConfigOC, TIM_CHANNEL_2) != HAL_OK)
  {
    Error_Handler();
  }
  sBreakDeadTimeConfig.OffStateRunMode = TIM_OSSR_DISABLE;
  sBreakDeadTimeConfig.OffStateIDLEMode = TIM_OSSI_DISABLE;
  sBreakDeadTimeConfig.LockLevel = TIM_LOCKLEVEL_OFF;
  sBreakDeadTimeConfig.DeadTime = 0;
  sBreakDeadTimeConfig.BreakState = TIM_BREAK_DISABLE;
  sBreakDeadTimeConfig.BreakPolarity = TIM_BREAKPOLARITY_HIGH;
  sBreakDeadTimeConfig.AutomaticOutput = TIM_AUTOMATICOUTPUT_DISABLE;
  if (HAL_TIMEx_ConfigBreakDeadTime(&htim8, &sBreakDeadTimeConfig) != HAL_OK)
  {
    Error_Handler();
  }
  HAL_TIM_MspPostInit(&htim8);

}

static void MX_TIM10_Init(void)
{

  TIM_OC_InitTypeDef sConfigOC = {0};

  htim10.Instance = TIM10;
  htim10.Init.Prescaler = 0;
  htim10.Init.CounterMode = TIM_COUNTERMODE_UP;
  htim10.Init.Period = 65535;
  htim10.Init.ClockDivision = TIM_CLOCKDIVISION_DIV1;
  htim10.Init.AutoReloadPreload = TIM_AUTORELOAD_PRELOAD_DISABLE;
  if (HAL_TIM_Base_Init(&htim10) != HAL_OK)
  {
    Error_Handler();
  }
  if (HAL_TIM_PWM_Init(&htim10) != HAL_OK)
  {
    Error_Handler();
  }
  sConfigOC.OCMode = TIM_OCMODE_PWM1;
  sConfigOC.Pulse = 0;
  sConfigOC.OCPolarity = TIM_OCPOLARITY_HIGH;
  sConfigOC.OCFastMode = TIM_OCFAST_DISABLE;
  if (HAL_TIM_PWM_ConfigChannel(&htim10, &sConfigOC, TIM_CHANNEL_1) != HAL_OK)
  {
    Error_Handler();
  }
  HAL_TIM_MspPostInit(&htim10);

}

static void MX_USART1_UART_Init(void)
{

  huart1.Instance = USART1;
  huart1.Init.BaudRate = 115200;
  huart1.Init.WordLength = UART_WORDLENGTH_9B;
  huart1.Init.StopBits = UART_STOPBITS_1;
  huart1.Init.Parity = UART_PARITY_EVEN;
  huart1.Init.Mode = UART_MODE_TX_RX;
  huart1.Init.HwFlowCtl = UART_HWCONTROL_NONE;
  huart1.Init.OverSampling = UART_OVERSAMPLING_16;
  if (HAL_UART_Init(&huart1) != HAL_OK)
  {
    Error_Handler();
  }

}

static void MX_USART3_UART_Init(void)
{

  huart3.Instance = USART3;
  huart3.Init.BaudRate = 100000;
  huart3.Init.WordLength = UART_WORDLENGTH_9B;
  huart3.Init.StopBits = UART_STOPBITS_1;
  huart3.Init.Parity = UART_PARITY_EVEN;
  huart3.Init.Mode = UART_MODE_TX_RX;
  huart3.Init.HwFlowCtl = UART_HWCONTROL_NONE;
  huart3.Init.OverSampling = UART_OVERSAMPLING_16;
  if (HAL_UART_Init(&huart3) != HAL_OK)
  {
    Error_Handler();
  }

}

static void MX_USART6_UART_Init(void)
{

  huart6.Instance = USART6;
  huart6.Init.BaudRate = 115200;
  huart6.Init.WordLength = UART_WORDLENGTH_8B;
  huart6.Init.StopBits = UART_STOPBITS_1;
  huart6.Init.Parity = UART_PARITY_NONE;
  huart6.Init.Mode = UART_MODE_TX_RX;
  huart6.Init.HwFlowCtl = UART_HWCONTROL_NONE;
  huart6.Init.OverSampling = UART_OVERSAMPLING_16;
  if (HAL_UART_Init(&huart6) != HAL_OK)
  {
    Error_Handler();
  }

}

static void MX_DMA_Init(void)
{

  /* DMA controller clock enable */
  __HAL_RCC_DMA2_CLK_ENABLE();
  __HAL_RCC_DMA1_CLK_ENABLE();

  /* DMA interrupt init */
  /* DMA1_Stream1_IRQn interrupt configuration */
  HAL_NVIC_SetPriority(DMA1_Stream1_IRQn, 5, 0);
  HAL_NVIC_EnableIRQ(DMA1_Stream1_IRQn);
  /* DMA2_Stream1_IRQn interrupt configuration */
  HAL_NVIC_SetPriority(DMA2_Stream1_IRQn, 5, 0);
  HAL_NVIC_EnableIRQ(DMA2_Stream1_IRQn);
  /* DMA2_Stream2_IRQn interrupt configuration */
  HAL_NVIC_SetPriority(DMA2_Stream2_IRQn, 5, 0);
  HAL_NVIC_EnableIRQ(DMA2_Stream2_IRQn);
  /* DMA2_Stream3_IRQn interrupt configuration */
  HAL_NVIC_SetPriority(DMA2_Stream3_IRQn, 5, 0);
  HAL_NVIC_EnableIRQ(DMA2_Stream3_IRQn);
  /* DMA2_Stream5_IRQn interrupt configuration */
  HAL_NVIC_SetPriority(DMA2_Stream5_IRQn, 5, 0);
  HAL_NVIC_EnableIRQ(DMA2_Stream5_IRQn);
  /* DMA2_Stream6_IRQn interrupt configuration */
  HAL_NVIC_SetPriority(DMA2_Stream6_IRQn, 5, 0);
  HAL_NVIC_EnableIRQ(DMA2_Stream6_IRQn);
  /* DMA2_Stream7_IRQn interrupt configuration */
  HAL_NVIC_SetPriority(DMA2_Stream7_IRQn, 5, 0);
  HAL_NVIC_EnableIRQ(DMA2_Stream7_IRQn);

}

static void MX_GPIO_Init(void)
{
  GPIO_InitTypeDef GPIO_InitStruct = {0};

  /* GPIO Ports Clock Enable */
  __HAL_RCC_GPIOB_CLK_ENABLE();
  __HAL_RCC_GPIOG_CLK_ENABLE();
  __HAL_RCC_GPIOA_CLK_ENABLE();
  __HAL_RCC_GPIOD_CLK_ENABLE();
  __HAL_RCC_GPIOC_CLK_ENABLE();
  __HAL_RCC_GPIOI_CLK_ENABLE();
  __HAL_RCC_GPIOF_CLK_ENABLE();
  __HAL_RCC_GPIOH_CLK_ENABLE();
  __HAL_RCC_GPIOE_CLK_ENABLE();

  /*Configure GPIO pin Output Level */
  HAL_GPIO_WritePin(SIGNAL_SELECT_GPIO_Port, SIGNAL_SELECT_Pin, GPIO_PIN_RESET);

  /*Configure GPIO pin Output Level */
  HAL_GPIO_WritePin(LASER_GPIO_Port, LASER_Pin, GPIO_PIN_RESET);

  /*Configure GPIO pin Output Level */
  HAL_GPIO_WritePin(RSTN_IST8310_GPIO_Port, RSTN_IST8310_Pin, GPIO_PIN_RESET);

  /*Configure GPIO pin Output Level */
  HAL_GPIO_WritePin(CS1_ACCEL_GPIO_Port, CS1_ACCEL_Pin, GPIO_PIN_RESET);

  /*Configure GPIO pin Output Level */
  HAL_GPIO_WritePin(GPIOB, SPI2_CS_Pin|CS1_GYRO_Pin, GPIO_PIN_RESET);

  /*Configure GPIO pin : SIGNAL_SELECT_Pin */
  GPIO_InitStruct.Pin = SIGNAL_SELECT_Pin;
  GPIO_InitStruct.Mode = GPIO_MODE_OUTPUT_PP;
  GPIO_InitStruct.Pull = GPIO_NOPULL;
  GPIO_InitStruct.Speed = GPIO_SPEED_FREQ_LOW;
  HAL_GPIO_Init(SIGNAL_SELECT_GPIO_Port, &GPIO_InitStruct);

  /*Configure GPIO pin : LASER_Pin */
  GPIO_InitStruct.Pin = LASER_Pin;
  GPIO_InitStruct.Mode = GPIO_MODE_OUTPUT_PP;
  GPIO_InitStruct.Pull = GPIO_NOPULL;
  GPIO_InitStruct.Speed = GPIO_SPEED_FREQ_LOW;
  HAL_GPIO_Init(LASER_GPIO_Port, &GPIO_InitStruct);

  /*Configure GPIO pin : RSTN_IST8310_Pin */
  GPIO_InitStruct.Pin = RSTN_IST8310_Pin;
  GPIO_InitStruct.Mode = GPIO_MODE_OUTPUT_PP;
  GPIO_InitStruct.Pull = GPIO_NOPULL;
  GPIO_InitStruct.Speed = GPIO_SPEED_FREQ_VERY_HIGH;
  HAL_GPIO_Init(RSTN_IST8310_GPIO_Port, &GPIO_InitStruct);

  /*Configure GPIO pin : DRDY_IST8310_Pin */
  GPIO_InitStruct.Pin = DRDY_IST8310_Pin;
  GPIO_InitStruct.Mode = GPIO_MODE_IT_RISING;
  GPIO_InitStruct.Pull = GPIO_NOPULL;
  HAL_GPIO_Init(DRDY_IST8310_GPIO_Port, &GPIO_InitStruct);

  /*Configure GPIO pins : PC0 PC1 PC2 */
  GPIO_InitStruct.Pin = GPIO_PIN_0|GPIO_PIN_1|GPIO_PIN_2;
  GPIO_InitStruct.Mode = GPIO_MODE_INPUT;
  GPIO_InitStruct.Pull = GPIO_NOPULL;
  HAL_GPIO_Init(GPIOC, &GPIO_InitStruct);

  /*Configure GPIO pin : KEY_Pin */
  GPIO_InitStruct.Pin = KEY_Pin;
  GPIO_InitStruct.Mode = GPIO_MODE_IT_FALLING;
  GPIO_InitStruct.Pull = GPIO_NOPULL;
  HAL_GPIO_Init(KEY_GPIO_Port, &GPIO_InitStruct);

  /*Configure GPIO pin : CS1_ACCEL_Pin */
  GPIO_InitStruct.Pin = CS1_ACCEL_Pin;
  GPIO_InitStruct.Mode = GPIO_MODE_OUTPUT_PP;
  GPIO_InitStruct.Pull = GPIO_NOPULL;
  GPIO_InitStruct.Speed = GPIO_SPEED_FREQ_LOW;
  HAL_GPIO_Init(CS1_ACCEL_GPIO_Port, &GPIO_InitStruct);

  /*Configure GPIO pins : INT1_ACCEL_Pin INT1_GYRO_Pin */
  GPIO_InitStruct.Pin = INT1_ACCEL_Pin|INT1_GYRO_Pin;
  GPIO_InitStruct.Mode = GPIO_MODE_IT_RISING;
  GPIO_InitStruct.Pull = GPIO_NOPULL;
  HAL_GPIO_Init(GPIOC, &GPIO_InitStruct);

  /*Configure GPIO pin : SPI2_CS_Pin */
  GPIO_InitStruct.Pin = SPI2_CS_Pin;
  GPIO_InitStruct.Mode = GPIO_MODE_OUTPUT_PP;
  GPIO_InitStruct.Pull = GPIO_NOPULL;
  GPIO_InitStruct.Speed = GPIO_SPEED_FREQ_VERY_HIGH;
  HAL_GPIO_Init(SPI2_CS_GPIO_Port, &GPIO_InitStruct);

  /*Configure GPIO pin : CS1_GYRO_Pin */
  GPIO_InitStruct.Pin = CS1_GYRO_Pin;
  GPIO_InitStruct.Mode = GPIO_MODE_OUTPUT_PP;
  GPIO_InitStruct.Pull = GPIO_NOPULL;
  GPIO_InitStruct.Speed = GPIO_SPEED_FREQ_LOW;
  HAL_GPIO_Init(CS1_GYRO_GPIO_Port, &GPIO_InitStruct);

  /* EXTI interrupt init*/
  HAL_NVIC_SetPriority(EXTI0_IRQn, 5, 0);
  HAL_NVIC_EnableIRQ(EXTI0_IRQn);

  HAL_NVIC_SetPriority(EXTI3_IRQn, 5, 0);
  HAL_NVIC_EnableIRQ(EXTI3_IRQn);

  HAL_NVIC_SetPriority(EXTI4_IRQn, 5, 0);
  HAL_NVIC_EnableIRQ(EXTI4_IRQn);

  HAL_NVIC_SetPriority(EXTI9_5_IRQn, 5, 0);
  HAL_NVIC_EnableIRQ(EXTI9_5_IRQn);

}

void StartDefaultTask(void *argument)
{
  /* init code for USB_DEVICE */
  MX_USB_DEVICE_Init();
  /* USER CODE BEGIN 5 */
	uint16_t radiance = 0;
	uint8_t increment = 1;
  /* Infinite loop */
  for(;;)
  {
    osDelay(10);
		if(increment){
			radiance += 500;
		}else{
			radiance -= 500;
		}
		if(radiance >= 65535 - 1000 || radiance == 0)
			increment = !increment;
		if(radiance == 30000){
			get_battery_voltage();
			get_temprate();
		}
		if(!LED_Override){
			LED_LL_TIM->CCR1 = radiance;
			LED_LL_TIM->CCR2 = radiance;
			LED_LL_TIM->CCR3 = 0;
		}
  }
  /* USER CODE END 5 */
}

void HAL_TIM_PeriodElapsedCallback(TIM_HandleTypeDef *htim)
{
  if (htim->Instance == TIM14) {
    HAL_IncTick();
  }
}

void Error_Handler(void)
{
  __disable_irq();
  while (1)
  {
  }
}

/************************ (C) COPYRIGHT STMicroelectronics *****END OF FILE****/
